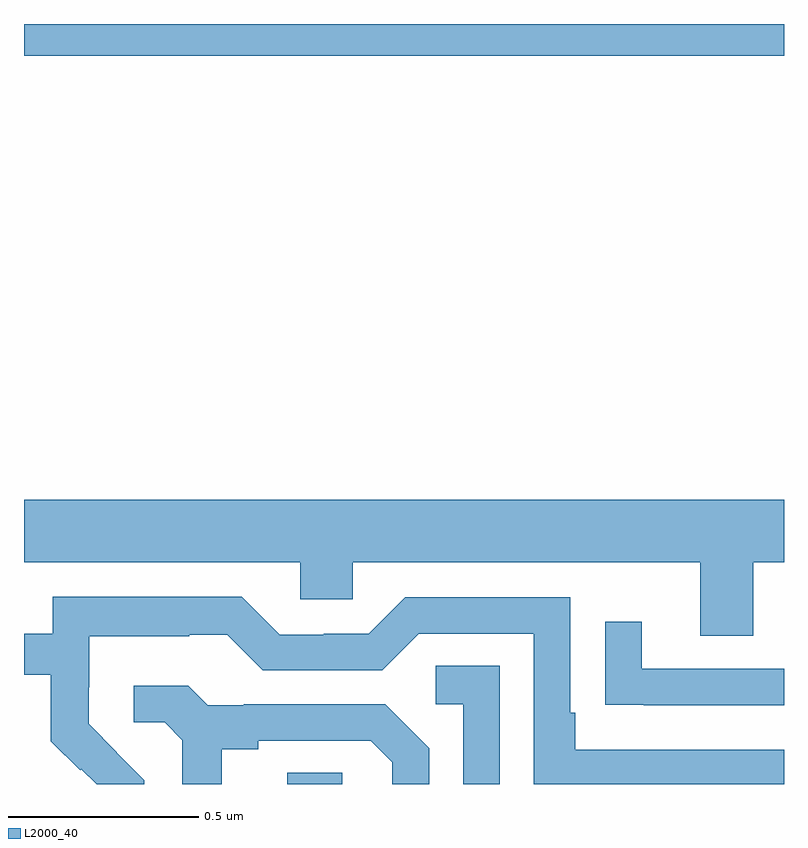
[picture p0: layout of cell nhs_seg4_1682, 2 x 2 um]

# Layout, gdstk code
import gdstk
lib = gdstk.Library(unit=1e-6, precision=1e-09)
def R(c, l, rs):  # rectangles x0, y0, x1, y1
    for r in rs: c.add(gdstk.rectangle(r[:2], r[2:], *l))
def P(c, l, *ps):  # polygons
    for p in ps: c.add(gdstk.Polygon(p, *l))
L2000_40 = (2000, 40)

nhs_seg4_1682 = lib.new_cell('nhs_seg4_1682')
R(nhs_seg4_1682, L2000_40, [(131.693,798.9,131.838,798.929), (131,800.816,133,800.9)])
P(nhs_seg4_1682, L2000_40, [(132.919,799.484),(133,799.484),(133,799.648),(131,799.648),(131,799.484),(131.727,799.484),(131.727,799.386),(131.865,799.386),(131.865,799.484),(132.779,799.484),(132.779,799.29),(132.919,799.29)],
  [(131.316,798.91),(131.243,798.983),(131.244,798.984),(131.17,799.058),(131.17,799.155),(131.172,799.155),(131.172,799.289),(131.435,799.289),(131.435,799.293),(131.535,799.293),(131.628,799.2),(131.943,799.2),(132.039,799.296),(132.342,799.296),(132.342,798.9),(133,798.9),(133,798.99),(132.451,798.99),(132.451,799.087),(132.438,799.087),(132.438,799.392),(132.003,799.392),(131.907,799.296),(131.789,799.296),(131.789,799.293),(131.673,799.293),(131.573,799.393),(131.076,799.393),(131.076,799.296),(131,799.296),(131,799.188),(131.071,799.188),(131.071,799.013),(131.148,798.936),(131.151,798.939),(131.191,798.9),(131.316,798.9)],
  [(133,799.203),(132.625,799.203),(132.625,799.327),(132.529,799.327),(132.529,799.108),(132.631,799.108),(132.631,799.107),(133,799.107)],
  [(132.252,799.211),(132.084,799.211),(132.084,799.11),(132.156,799.11),(132.156,798.9),(132.252,798.9)],
  [(131.521,798.992),(131.617,798.992),(131.617,799.014),(131.912,799.014),(131.969,798.957),(131.969,798.9),(132.066,798.9),(132.066,798.994),(131.95,799.11),(131.578,799.11),(131.578,799.107),(131.484,799.107),(131.432,799.159),(131.289,799.159),(131.289,799.062),(131.37,799.062),(131.417,799.015),(131.417,798.9),(131.521,798.9)])

lib.write_gds('nhs_seg4_1682.gds')
